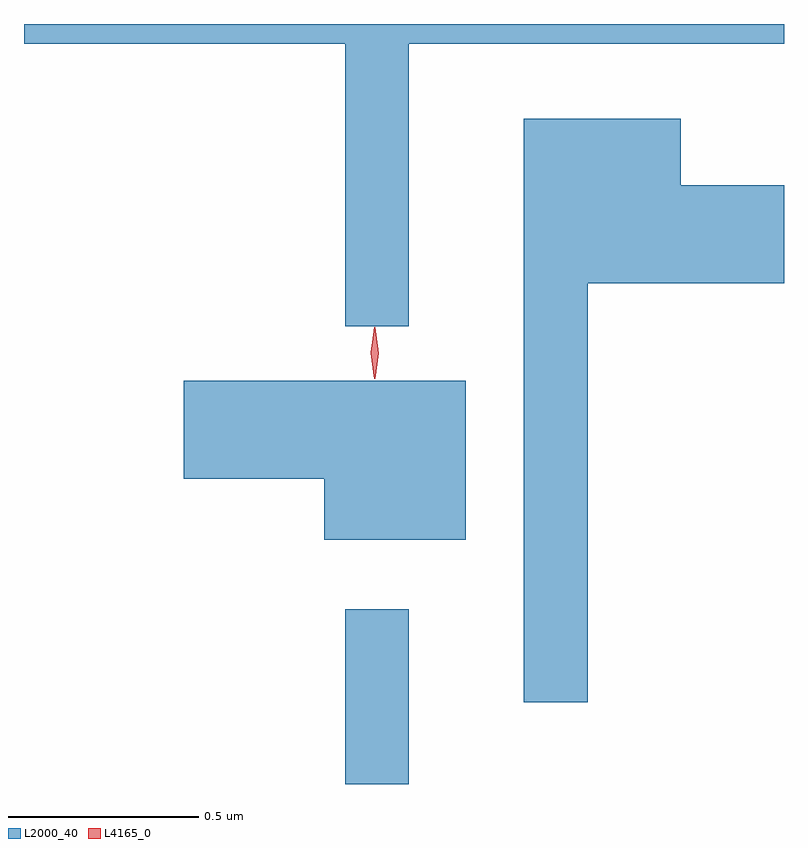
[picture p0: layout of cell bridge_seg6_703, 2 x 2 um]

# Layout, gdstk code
import gdstk
lib = gdstk.Library(unit=1e-6, precision=1e-09)
def R(c, l, rs):  # rectangles x0, y0, x1, y1
    for r in rs: c.add(gdstk.rectangle(r[:2], r[2:], *l))
def P(c, l, *ps):  # polygons
    for p in ps: c.add(gdstk.Polygon(p, *l))
L2000_40 = (2000, 40)
L4165_0 = (4165, 0)

bridge_seg6_703 = lib.new_cell('bridge_seg6_703')
R(bridge_seg6_703, L2000_40, [(233.851,1663.528,234.019,1663.988)])
P(bridge_seg6_703, L2000_40, [(234.019,1665.476),(235.006,1665.476),(235.006,1665.528),(233.006,1665.528),(233.006,1665.476),(233.851,1665.476),(233.851,1664.733),(234.019,1664.733)],
  [(234.489,1664.846),(235.006,1664.846),(235.006,1665.104),(234.734,1665.104),(234.734,1665.279),(234.321,1665.279),(234.321,1663.743),(234.489,1663.743)],
  [(234.169,1664.589),(233.426,1664.589),(233.426,1664.331),(233.796,1664.331),(233.796,1664.171),(234.169,1664.171)])
P(bridge_seg6_703, L4165_0, [(233.928,1664.594),(233.919,1664.662),(233.928,1664.73),(233.929,1664.73),(233.93,1664.73),(233.939,1664.662),(233.93,1664.594),(233.929,1664.594)],
  [(233.927,1664.6),(233.926,1664.601),(233.918,1664.664),(233.928,1664.726),(233.929,1664.727),(233.93,1664.726),(233.938,1664.664),(233.927,1664.601)])

lib.write_gds('bridge_seg6_703.gds')
